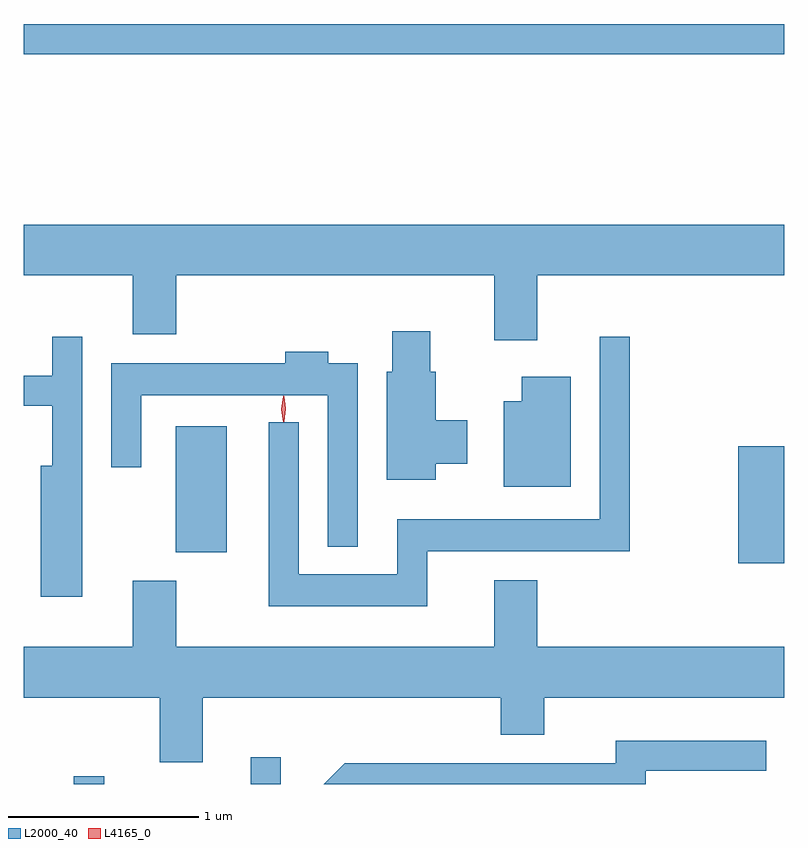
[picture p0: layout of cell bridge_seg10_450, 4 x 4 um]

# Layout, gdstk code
import gdstk
lib = gdstk.Library(unit=1e-6, precision=1e-09)
def R(c, l, rs):  # rectangles x0, y0, x1, y1
    for r in rs: c.add(gdstk.rectangle(r[:2], r[2:], *l))
def P(c, l, *ps):  # polygons
    for p in ps: c.add(gdstk.Polygon(p, *l))
L2000_40 = (2000, 40)
L4165_0 = (4165, 0)

bridge_seg10_450 = lib.new_cell('bridge_seg10_450')
R(bridge_seg10_450, L2000_40, [(1420.561,2117.901,1420.719,2117.943), (1421.491,2117.901,1421.649,2118.043), (1424.056,2119.061,1424.297,2119.679), (1421.096,2119.121,1421.364,2119.784), (1420.297,2121.741,1424.297,2121.899)])
P(bridge_seg10_450, L2000_40, [(1422.999,2120.576),(1424.297,2120.576),(1424.297,2120.844),(1420.297,2120.844),(1420.297,2120.576),(1420.871,2120.576),(1420.871,2120.266),(1421.099,2120.266),(1421.099,2120.576),(1422.771,2120.576),(1422.771,2120.236),(1422.999,2120.236)],
  [(1422.464,2119.586),(1422.629,2119.586),(1422.629,2119.814),(1422.464,2119.814),(1422.464,2120.069),(1422.434,2120.069),(1422.434,2120.284),(1422.236,2120.284),(1422.236,2120.069),(1422.206,2120.069),(1422.206,2119.501),(1422.464,2119.501)],
  [(1420.604,2120.253),(1420.446,2120.253),(1420.446,2120.049),(1420.297,2120.049),(1420.297,2119.891),(1420.446,2119.891),(1420.446,2119.574),(1420.386,2119.574),(1420.386,2118.886),(1420.604,2118.886)],
  [(1422.419,2119.126),(1423.484,2119.126),(1423.484,2120.253),(1423.326,2120.253),(1423.326,2119.294),(1422.261,2119.294),(1422.261,2119.004),(1421.744,2119.004),(1421.744,2119.803),(1421.586,2119.803),(1421.586,2118.836),(1422.419,2118.836)],
  [(1422.054,2120.114),(1421.899,2120.114),(1421.899,2120.174),(1421.671,2120.174),(1421.671,2120.114),(1420.756,2120.114),(1420.756,2119.568),(1420.914,2119.568),(1420.914,2119.946),(1421.896,2119.946),(1421.896,2119.148),(1422.054,2119.148)],
  [(1423.174,2120.044),(1422.916,2120.044),(1422.916,2119.914),(1422.821,2119.914),(1422.821,2119.466),(1423.174,2119.466)],
  [(1421.239,2118.356),(1422.806,2118.356),(1422.806,2118.161),(1423.034,2118.161),(1423.034,2118.356),(1424.297,2118.356),(1424.297,2118.624),(1422.999,2118.624),(1422.999,2118.974),(1422.771,2118.974),(1422.771,2118.624),(1421.099,2118.624),(1421.099,2118.969),(1420.871,2118.969),(1420.871,2118.624),(1420.297,2118.624),(1420.297,2118.356),(1421.011,2118.356),(1421.011,2118.016),(1421.239,2118.016)],
  [(1423.569,2117.971),(1424.203,2117.971),(1424.203,2118.129),(1423.411,2118.129),(1423.411,2118.009),(1421.984,2118.009),(1421.875,2117.901),(1423.569,2117.901)])
P(bridge_seg10_450, L4165_0, [(1421.662,2119.803),(1421.662,2119.804),(1421.652,2119.873),(1421.662,2119.942),(1421.662,2119.943),(1421.663,2119.942),(1421.672,2119.873),(1421.663,2119.804)],
  [(1421.664,2119.807),(1421.655,2119.874),(1421.665,2119.94),(1421.665,2119.94),(1421.666,2119.94),(1421.675,2119.874),(1421.666,2119.807),(1421.665,2119.807)])

lib.write_gds('bridge_seg10_450.gds')
